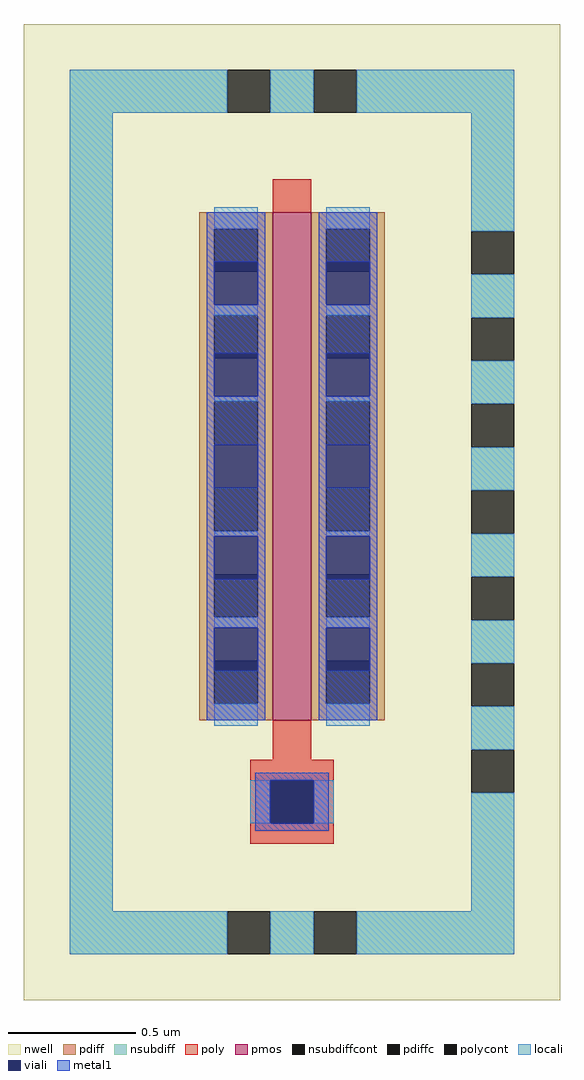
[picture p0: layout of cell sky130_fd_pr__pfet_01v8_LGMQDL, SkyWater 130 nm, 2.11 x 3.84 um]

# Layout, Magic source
magic
tech sky130A
magscale 1 2
<< nwell >>
rect -211 -384 211 384
<< pmos >>
rect -15 -164 15 236
<< pdiff >>
rect -73 223 -15 236
rect -73 189 -61 223
rect -27 189 -15 223
rect -73 155 -15 189
rect -73 121 -61 155
rect -27 121 -15 155
rect -73 87 -15 121
rect -73 53 -61 87
rect -27 53 -15 87
rect -73 19 -15 53
rect -73 -15 -61 19
rect -27 -15 -15 19
rect -73 -49 -15 -15
rect -73 -83 -61 -49
rect -27 -83 -15 -49
rect -73 -117 -15 -83
rect -73 -151 -61 -117
rect -27 -151 -15 -117
rect -73 -164 -15 -151
rect 15 223 73 236
rect 15 189 27 223
rect 61 189 73 223
rect 15 155 73 189
rect 15 121 27 155
rect 61 121 73 155
rect 15 87 73 121
rect 15 53 27 87
rect 61 53 73 87
rect 15 19 73 53
rect 15 -15 27 19
rect 61 -15 73 19
rect 15 -49 73 -15
rect 15 -83 27 -49
rect 61 -83 73 -49
rect 15 -117 73 -83
rect 15 -151 27 -117
rect 61 -151 73 -117
rect 15 -164 73 -151
<< pdiffc >>
rect -61 189 -27 223
rect -61 121 -27 155
rect -61 53 -27 87
rect -61 -15 -27 19
rect -61 -83 -27 -49
rect -61 -151 -27 -117
rect 27 189 61 223
rect 27 121 61 155
rect 27 53 61 87
rect 27 -15 61 19
rect 27 -83 61 -49
rect 27 -151 61 -117
<< nsubdiff >>
rect -175 314 -51 348
rect -17 314 17 348
rect 51 314 175 348
rect -175 -314 -141 314
rect 141 221 175 314
rect 141 153 175 187
rect 141 85 175 119
rect 141 17 175 51
rect 141 -51 175 -17
rect 141 -119 175 -85
rect 141 -187 175 -153
rect 141 -314 175 -221
rect -175 -348 -51 -314
rect -17 -348 17 -314
rect 51 -348 175 -314
<< nsubdiffcont >>
rect -51 314 -17 348
rect 17 314 51 348
rect 141 187 175 221
rect 141 119 175 153
rect 141 51 175 85
rect 141 -17 175 17
rect 141 -85 175 -51
rect 141 -153 175 -119
rect 141 -221 175 -187
rect -51 -348 -17 -314
rect 17 -348 51 -314
<< poly >>
rect -15 236 15 262
rect -15 -195 15 -164
rect -33 -211 33 -195
rect -33 -245 -17 -211
rect 17 -245 33 -211
rect -33 -261 33 -245
<< polycont >>
rect -17 -245 17 -211
<< locali >>
rect -175 314 -51 348
rect -17 314 17 348
rect 51 314 175 348
rect -175 -314 -141 314
rect -61 223 -27 240
rect -61 155 -27 163
rect -61 87 -27 91
rect -61 -19 -27 -15
rect -61 -91 -27 -83
rect -61 -168 -27 -151
rect 27 223 61 240
rect 27 155 61 163
rect 27 87 61 91
rect 27 -19 61 -15
rect 27 -91 61 -83
rect 27 -168 61 -151
rect 141 221 175 314
rect 141 153 175 187
rect 141 85 175 119
rect 141 17 175 51
rect 141 -51 175 -17
rect 141 -119 175 -85
rect 141 -187 175 -153
rect -33 -245 -17 -211
rect 17 -245 33 -211
rect 141 -314 175 -221
rect -175 -348 -51 -314
rect -17 -348 17 -314
rect 51 -348 175 -314
<< viali >>
rect -61 189 -27 197
rect -61 163 -27 189
rect -61 121 -27 125
rect -61 91 -27 121
rect -61 19 -27 53
rect -61 -49 -27 -19
rect -61 -53 -27 -49
rect -61 -117 -27 -91
rect -61 -125 -27 -117
rect 27 189 61 197
rect 27 163 61 189
rect 27 121 61 125
rect 27 91 61 121
rect 27 19 61 53
rect 27 -49 61 -19
rect 27 -53 61 -49
rect 27 -117 61 -91
rect 27 -125 61 -117
rect -17 -245 17 -211
<< metal1 >>
rect -67 197 -21 236
rect -67 163 -61 197
rect -27 163 -21 197
rect -67 125 -21 163
rect -67 91 -61 125
rect -27 91 -21 125
rect -67 53 -21 91
rect -67 19 -61 53
rect -27 19 -21 53
rect -67 -19 -21 19
rect -67 -53 -61 -19
rect -27 -53 -21 -19
rect -67 -91 -21 -53
rect -67 -125 -61 -91
rect -27 -125 -21 -91
rect -67 -164 -21 -125
rect 21 197 67 236
rect 21 163 27 197
rect 61 163 67 197
rect 21 125 67 163
rect 21 91 27 125
rect 61 91 67 125
rect 21 53 67 91
rect 21 19 27 53
rect 61 19 67 53
rect 21 -19 67 19
rect 21 -53 27 -19
rect 61 -53 67 -19
rect 21 -91 67 -53
rect 21 -125 27 -91
rect 61 -125 67 -91
rect 21 -164 67 -125
rect -29 -211 29 -205
rect -29 -245 -17 -211
rect 17 -245 29 -211
rect -29 -251 29 -245
<< properties >>
string FIXED_BBOX -158 -331 158 331
<< end >>
